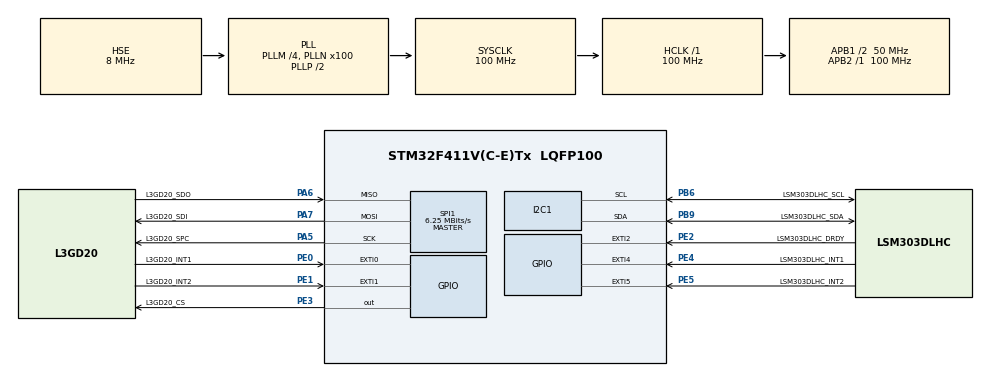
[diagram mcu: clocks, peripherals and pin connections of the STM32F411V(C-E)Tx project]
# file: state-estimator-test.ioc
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I2C1.I2C_Mode=I2C_Fast
Mcu.Family=STM32F4
Mcu.Name=STM32F411V(C-E)Tx
Mcu.Package=LQFP100
NVIC.EXTI0_IRQn=true\:0\:0\:false\:false\:true\:true\:true\:true
NVIC.EXTI1_IRQn=true\:0\:0\:false\:false\:true\:true\:true\:true
NVIC.EXTI2_IRQn=true\:0\:0\:false\:false\:true\:true\:true\:true
NVIC.EXTI4_IRQn=true\:0\:0\:false\:false\:true\:true\:true\:true
NVIC.EXTI9_5_IRQn=true\:0\:0\:false\:false\:true\:true\:true\:true
NVIC.I2C1_EV_IRQn=true\:0\:0\:false\:false\:true\:true\:true\:true
NVIC.PriorityGroup=NVIC_PRIORITYGROUP_4
NVIC.SPI1_IRQn=true\:0\:0\:false\:false\:true\:true\:true\:true
PA5.GPIO_Label=L3GD20_SPC
PA5.Mode=Full_Duplex_Master
PA5.Signal=SPI1_SCK
PA6.GPIO_Label=L3GD20_SDO
PA6.Mode=Full_Duplex_Master
PA6.Signal=SPI1_MISO
PA7.GPIO_Label=L3GD20_SDI
PA7.Mode=Full_Duplex_Master
PA7.Signal=SPI1_MOSI
PB6.GPIO_Label=LSM303DLHC_SCL
PB6.Mode=I2C
PB6.Signal=I2C1_SCL
PB9.GPIO_Label=LSM303DLHC_SDA
PB9.Mode=I2C
PB9.Signal=I2C1_SDA
PE0.GPIO_Label=L3GD20_INT1
PE0.Signal=GPXTI0
PE1.GPIO_Label=L3GD20_INT2
PE1.Signal=GPXTI1
PE2.GPIO_Label=LSM303DLHC_DRDY
PE2.Signal=GPXTI2
PE3.GPIO_Label=L3GD20_CS
PE3.Signal=GPIO_Output
PE4.GPIO_Label=LSM303DLHC_INT1
PE4.Signal=GPXTI4
PE5.GPIO_Label=LSM303DLHC_INT2
PE5.Signal=GPXTI5
PH0\ -\ OSC_IN.Mode=HSE-External-Oscillator
PH0\ -\ OSC_IN.Signal=RCC_OSC_IN
PH1\ -\ OSC_OUT.Mode=HSE-External-Oscillator
PH1\ -\ OSC_OUT.Signal=RCC_OSC_OUT
ProjectManager.HeapSize=0x200
ProjectManager.StackSize=0x400
ProjectManager.TargetToolchain=STM32CubeIDE
RCC.48MHZClocksFreq_Value=50000000
RCC.AHBFreq_Value=100000000
RCC.APB1CLKDivider=RCC_HCLK_DIV2
RCC.APB1Freq_Value=50000000
RCC.APB1TimFreq_Value=100000000
RCC.APB2Freq_Value=100000000
RCC.APB2TimFreq_Value=100000000
RCC.CortexFreq_Value=100000000
RCC.HCLKFreq_Value=100000000
RCC.HSE_VALUE=8000000
RCC.HSI_VALUE=16000000
RCC.LSE_VALUE=32768
RCC.PLLM=4
RCC.PLLN=100
RCC.PLLSourceVirtual=RCC_PLLSOURCE_HSE
RCC.SYSCLKFreq_VALUE=100000000
RCC.SYSCLKSource=RCC_SYSCLKSOURCE_PLLCLK
RCC.VCOOutputFreq_Value=200000000
SPI1.BaudRatePrescaler=SPI_BAUDRATEPRESCALER_16
SPI1.CalculateBaudRate=6.25 MBits/s
SPI1.Direction=SPI_DIRECTION_2LINES
SPI1.Mode=SPI_MODE_MASTER
SPI1.VirtualType=VM_MASTER
board=custom

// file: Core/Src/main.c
/* USER CODE BEGIN Header */
/**
  ******************************************************************************
  * @file           : main.c
  * @brief          : Main program body
  ******************************************************************************
  * @attention
  *
  * Copyright (c) 2024 STMicroelectronics.
  * All rights reserved.
  *
  * This software is licensed under terms that can be found in the LICENSE file
  * in the root directory of this software component.
  * If no LICENSE file comes with this software, it is provided AS-IS.
  *
  ******************************************************************************
  */
/* USER CODE END Header */
#include "main.h"

/* USER CODE BEGIN Includes */

#include <stdio.h>
#include <stdbool.h>
#include <math.h>

#include "register_map_l3GD20.h"
#include "register_map_lsm303dlhc.h"

/* USER CODE END Includes */

I2C_HandleTypeDef hi2c1;

SPI_HandleTypeDef hspi1;

void SystemClock_Config(void);
static void MX_GPIO_Init(void);
static void MX_I2C1_Init(void);
static void MX_SPI1_Init(void);

/* USER CODE BEGIN 0 */

volatile bool l3gd20_drdy = false;
volatile bool lsm303dlhc_drdy = false;

void HAL_GPIO_EXTI_Callback(uint16_t GPIO_Pin) {
	if(GPIO_Pin==L3GD20_INT2_Pin) {
		l3gd20_drdy = true;
	} else if(GPIO_Pin==LSM303DLHC_DRDY_Pin) {
		lsm303dlhc_drdy = true;
	}
}

int __io_putchar(int ch) {
	ITM_SendChar(ch);
	return(ch);
}

void L3GD20_write(const uint8_t address, const uint8_t value) {
	uint8_t tx[2];
	tx[0] = address & 0x3F;
	tx[1] = value;

	HAL_GPIO_WritePin(L3GD20_CS_GPIO_Port, L3GD20_CS_Pin, 0);
	HAL_SPI_Transmit(&hspi1, tx, sizeof(tx), HAL_MAX_DELAY);
	HAL_GPIO_WritePin(L3GD20_CS_GPIO_Port, L3GD20_CS_Pin, 1);
}

void L3GD20_read(const uint8_t address, void *rx, const uint8_t num) {
	const uint8_t tx = address | 0x80 | ((num>1) ? 0x40 : 0x00);

	HAL_GPIO_WritePin(L3GD20_CS_GPIO_Port, L3GD20_CS_Pin, 0);
	HAL_SPI_Transmit(&hspi1, (uint8_t *)&tx, sizeof(tx), HAL_MAX_DELAY);
	HAL_SPI_Receive(&hspi1, rx, num, HAL_MAX_DELAY);
	HAL_GPIO_WritePin(L3GD20_CS_GPIO_Port, L3GD20_CS_Pin, 1);
}

void LSM303DLHC_A_write(const uint8_t address, const uint8_t value) {
	HAL_I2C_Mem_Write(&hi2c1, LSM303DLHC_A_I2C_ADDRESS, address, 1, (uint8_t *)&value, 1, HAL_MAX_DELAY);
}

void LSM303DLHC_A_read(const uint8_t address, void *data, const uint8_t num) {
	HAL_I2C_Mem_Read(&hi2c1, LSM303DLHC_A_I2C_ADDRESS, address | (1<<7), 1, data, num, HAL_MAX_DELAY);
}

void LSM303DLHC_M_write(const uint8_t address, const uint8_t value) {
	HAL_I2C_Mem_Write(&hi2c1, LSM303DLHC_M_I2C_ADDRESS, address, 1, (uint8_t *)&value, 1, HAL_MAX_DELAY);
}

void LSM303DLHC_M_read(const uint8_t address, void *data, const uint8_t num) {
	HAL_I2C_Mem_Read(&hi2c1, LSM303DLHC_M_I2C_ADDRESS, address, 1, data, num, HAL_MAX_DELAY);
}

#define SENSITIVITY_GYROSCOPE		0.030518044f
#define SENSITIVITY_ACCELEROMETER	1.f/1340.f

float x = 0;
float y = 0;
float z = 0;

/* USER CODE END 0 */

int main(void)
{

  /* MCU Configuration--------------------------------------------------------*/

  /* Reset of all peripherals, Initializes the Flash interface and the Systick. */
  HAL_Init();

  /* Configure the system clock */
  SystemClock_Config();

  /* Initialize all configured peripherals */
  MX_GPIO_Init();
  MX_I2C1_Init();
  MX_SPI1_Init();

  /* Infinite loop */
  /* USER CODE BEGIN WHILE */

  HAL_Delay(250);

  {
	  uint8_t who_i_am = 0;
	  L3GD20_read(L3GD20_WHO_AM_I, &who_i_am, sizeof(who_i_am));

	  if(who_i_am==L3GD20_WHO_AM_I_VALUE) {
		  printf("L3GD20 ok\n");
	  }
  }

  L3GD20_write(L3GD20_CTRL_REG5,
      L3GD20_CTRL_REG5_BOOT
  );

  L3GD20_write(L3GD20_CTRL_REG1,
      L3GD20_CTRL_REG1_DR_ODR_95HZ |
	  L3GD20_CTRL_REG1_BW_CUTOFF_LPF1_93HZ |
	  L3GD20_CTRL_REG1_PD_OPERATING_MODE_NORMAL |
	  L3GD20_CTRL_REG1_ZEN_ENABLE |
	  L3GD20_CTRL_REG1_YEN_ENABLE |
	  L3GD20_CTRL_REG1_XEN_ENABLE
  );

  L3GD20_write(L3GD20_CTRL_REG3,
	  L3GD20_CTRL_REG3_I1_INT1_DISABLE |
	  L3GD20_CTRL_REG3_I1_BOOT_STATUS_AVAILABLE_DISABLE |
	  L3GD20_CTRL_REG3_H_LACTIVE_HIGH |
	  L3GD20_CTRL_REG3_PP_OD_PUSH_PULL |
	  L3GD20_CTRL_REG3_I2_DRDY_ENABLE |
	  L3GD20_CTRL_REG3_I2_WTM_FIFO_WATERMARK_DISABLE |
	  L3GD20_CTRL_REG3_I2_ORUN_FIFO_OVERRUN_DISABLE |
	  L3GD20_CTRL_REG3_I2_EMPTY_FIFO_EMPTY_DISABLE
  );

  L3GD20_write(L3GD20_CTRL_REG4,
	  L3GD20_CTRL_REG4_BDU_ENABLE |
	  L3GD20_CTRL_REG4_BLE_LITTLE_ENDIAN |
	  L3GD20_CTRL_REG4_FS_FULL_SCALE_2000DPS |
	  L3GD20_CTRL_REG4_SIM_4_WIRE_INTERFACE
  );

  L3GD20_write(L3GD20_CTRL_REG5,
      L3GD20_CTRL_REG5_FIFO_EN_FIFO_DISABLE |
	  L3GD20_CTRL_REG5_HPEN_HIGH_PASS_FILTER_DISABLE |
	  L3GD20_CTRL_REG5_INT1_SEL_00 |
	  L3GD20_CTRL_REG5_OUT_SEL_00
  );

  {
	  uint8_t irx[3] = {0};
	  LSM303DLHC_M_read(LSM303DLHC_IRA_REG_M, irx, sizeof(irx));

	  if(irx[0]==LSM303DLHC_IRA_REG_M_VALUE && irx[1]==LSM303DLHC_IRB_REG_M_VALUE && irx[2]==LSM303DLHC_IRC_REG_M_VALUE) {
		  printf("LSM303DLHC ok\n");
	  }
  }

  LSM303DLHC_A_write(LSM303DLHC_CTRL_REG5_A, LSM303DLHC_CTRL_REG5_A_BOOT);

  LSM303DLHC_A_write(LSM303DLHC_CTRL_REG1_A,
	  LSM303DLHC_CTRL_REG1_A_ODR_MODE_NORMAL_LOW_POWER_100HZ |
	  LSM303DLHC_CTRL_REG1_A_LPEN_NORMAL_MODE |
	  LSM303DLHC_CTRL_REG1_A_ZEN_ENABLE |
	  LSM303DLHC_CTRL_REG1_A_YEN_ENABLE |
	  LSM303DLHC_CTRL_REG1_A_XEN_ENABLE
  );

  LSM303DLHC_A_write(LSM303DLHC_CTRL_REG2_A,
  	  LSM303DLHC_CTRL_REG2_A_HPM_NORMAL_MODE |
	  //LSM303DLHC_CTRL_REG2_A_HPCF |
	  LSM303DLHC_CTRL_REG2_A_FDS_INTERNAL_FILTER_BAYPASSED |
	  LSM303DLHC_CTRL_REG2_A_HPCLICK_FILTER_BAPASSED |
	  LSM303DLHC_CTRL_REG2_A_HPIS2_FILTER_BAPASSED |
	  LSM303DLHC_CTRL_REG2_A_HPIS1_FILTER_BAPASSED
  );

  LSM303DLHC_A_write(LSM303DLHC_CTRL_REG3_A,
      LSM303DLHC_CTRL_REG3_A_I1_CLICK_DISABLE |
	  LSM303DLHC_CTRL_REG3_A_I1_AOI1_DISABLE |
	  LSM303DLHC_CTRL_REG3_A_I1_AOI2_DISABLE |
	  LSM303DLHC_CTRL_REG3_A_I1_DRDY1_ENABLE |
	  LSM303DLHC_CTRL_REG3_A_I1_DRDY2_DISABLE |
	  LSM303DLHC_CTRL_REG3_A_I1_WTM_FIFO_WATERMARK_DISABLE |
	  LSM303DLHC_CTRL_REG3_A_I1_OVERRUN_FIFO_OVERRUN_DISABLE
  );

  LSM303DLHC_A_write(LSM303DLHC_CTRL_REG4_A,
      LSM303DLHC_CTRL_REG4_A_BDU_ENABLE |
	  LSM303DLHC_CTRL_REG4_A_BLE_LITTLE_ENDIAN |
	  LSM303DLHC_CTRL_REG4_A_FS_FULL_SCALE_16G |
	  LSM303DLHC_CTRL_REG4_A_HR_HIGH_RESOLUTION_ENABLE |
	  LSM303DLHC_CTRL_REG4_A_SIM_4_WIRE_INTERFACE
  );

  LSM303DLHC_A_write(LSM303DLHC_CTRL_REG5_A,
      LSM303DLHC_CTRL_REG5_A_FIFO_EN_FIFO_DISABLE |
	  LSM303DLHC_CTRL_REG5_A_LIR_INT1_NOT_LATCHED |
	  LSM303DLHC_CTRL_REG5_A_D4D_INT1_DISABLE |
	  LSM303DLHC_CTRL_REG5_A_LIR_INT2_NOT_LATCHED |
	  LSM303DLHC_CTRL_REG5_A_D4D_INT2_DISABLE
  );

  LSM303DLHC_A_write(LSM303DLHC_CTRL_REG6_A,
      LSM303DLHC_CTRL_REG6_A_I2_CLICKEN_DISABLE |
	  LSM303DLHC_CTRL_REG6_A_I2_INT1_INTERRUPT_1_ON_PAD2_DISABLE |
	  LSM303DLHC_CTRL_REG6_A_I2_INT2_INTERRUPT_2_ON_PAD2_DISABLE |
	  LSM303DLHC_CTRL_REG6_A_P2_ACT_ACTIVE_FUNCTION_STATUS_ON_PAD2_DISABLE |
	  LSM303DLHC_CTRL_REG6_A_H_LACTIVE_ACTIVE_HIGH
  );

  LSM303DLHC_M_write(LSM303DLHC_CRA_REG_M,
	  LSM303DLHC_CRA_REG_M_TEMP_EN_TEMPERATURE_SENSOR_DISABLE |
	  LSM303DLHC_CRA_REG_M_DO_MINIMUM_DATA_OUTPUT_RATE_75HZ
  );

  LSM303DLHC_M_write(LSM303DLHC_CRB_REG_M,
      LSM303DLHC_CRB_REG_M_GN_SENSOR_INPUT_RAGE_8_1GAUSS
  );

  LSM303DLHC_M_write(LSM303DLHC_MR_REG_M,
      LSM303DLHC_MR_REG_M_MD_OPERATING_MODE_CONTINUOUS_CONVERSION
  );

  int16_t raw[3] = {0};
  L3GD20_read(L3GD20_OUT_X_L, raw, sizeof(raw));

  while(1) {

	  if(l3gd20_drdy) {
		  l3gd20_drdy = false;

		  L3GD20_read(L3GD20_OUT_X_L, raw, sizeof(raw));

		  //x = raw[0]*SENSITIVITY_GYROSCOPE;
		  //y = raw[1]*SENSITIVITY_GYROSCOPE;
		  //z = raw[2]*SENSITIVITY_GYROSCOPE;
	  }

	  if(lsm303dlhc_drdy) {
		  lsm303dlhc_drdy = false;

		  LSM303DLHC_A_read(LSM303DLHC_OUT_X_L_A, raw, sizeof(raw));
		  //LSM303DLHC_M_read(LSM303DLHC_OUT_X_H_M, raw, sizeof(raw));

		  x = raw[0]*SENSITIVITY_ACCELEROMETER;
		  y = raw[1]*SENSITIVITY_ACCELEROMETER;
		  z = raw[2]*SENSITIVITY_ACCELEROMETER;
	  }

	  HAL_Delay(10);

    /* USER CODE END WHILE */

  }
}

void SystemClock_Config(void)
{
  RCC_OscInitTypeDef RCC_OscInitStruct = {0};
  RCC_ClkInitTypeDef RCC_ClkInitStruct = {0};

  /** Configure the main internal regulator output voltage
  */
  __HAL_RCC_PWR_CLK_ENABLE();
  __HAL_PWR_VOLTAGESCALING_CONFIG(PWR_REGULATOR_VOLTAGE_SCALE1);

  /** Initializes the RCC Oscillators according to the specified parameters
  * in the RCC_OscInitTypeDef structure.
  */
  RCC_OscInitStruct.OscillatorType = RCC_OSCILLATORTYPE_HSE;
  RCC_OscInitStruct.HSEState = RCC_HSE_ON;
  RCC_OscInitStruct.PLL.PLLState = RCC_PLL_ON;
  RCC_OscInitStruct.PLL.PLLSource = RCC_PLLSOURCE_HSE;
  RCC_OscInitStruct.PLL.PLLM = 4;
  RCC_OscInitStruct.PLL.PLLN = 100;
  RCC_OscInitStruct.PLL.PLLP = RCC_PLLP_DIV2;
  RCC_OscInitStruct.PLL.PLLQ = 4;
  if (HAL_RCC_OscConfig(&RCC_OscInitStruct) != HAL_OK)
  {
    Error_Handler();
  }

  /** Initializes the CPU, AHB and APB buses clocks
  */
  RCC_ClkInitStruct.ClockType = RCC_CLOCKTYPE_HCLK|RCC_CLOCKTYPE_SYSCLK
                              |RCC_CLOCKTYPE_PCLK1|RCC_CLOCKTYPE_PCLK2;
  RCC_ClkInitStruct.SYSCLKSource = RCC_SYSCLKSOURCE_PLLCLK;
  RCC_ClkInitStruct.AHBCLKDivider = RCC_SYSCLK_DIV1;
  RCC_ClkInitStruct.APB1CLKDivider = RCC_HCLK_DIV2;
  RCC_ClkInitStruct.APB2CLKDivider = RCC_HCLK_DIV1;

  if (HAL_RCC_ClockConfig(&RCC_ClkInitStruct, FLASH_LATENCY_3) != HAL_OK)
  {
    Error_Handler();
  }
}

static void MX_I2C1_Init(void)
{

  hi2c1.Instance = I2C1;
  hi2c1.Init.ClockSpeed = 400000;
  hi2c1.Init.DutyCycle = I2C_DUTYCYCLE_2;
  hi2c1.Init.OwnAddress1 = 0;
  hi2c1.Init.AddressingMode = I2C_ADDRESSINGMODE_7BIT;
  hi2c1.Init.DualAddressMode = I2C_DUALADDRESS_DISABLE;
  hi2c1.Init.OwnAddress2 = 0;
  hi2c1.Init.GeneralCallMode = I2C_GENERALCALL_DISABLE;
  hi2c1.Init.NoStretchMode = I2C_NOSTRETCH_DISABLE;
  if (HAL_I2C_Init(&hi2c1) != HAL_OK)
  {
    Error_Handler();
  }

}

static void MX_SPI1_Init(void)
{

  /* SPI1 parameter configuration*/
  hspi1.Instance = SPI1;
  hspi1.Init.Mode = SPI_MODE_MASTER;
  hspi1.Init.Direction = SPI_DIRECTION_2LINES;
  hspi1.Init.DataSize = SPI_DATASIZE_8BIT;
  hspi1.Init.CLKPolarity = SPI_POLARITY_LOW;
  hspi1.Init.CLKPhase = SPI_PHASE_1EDGE;
  hspi1.Init.NSS = SPI_NSS_SOFT;
  hspi1.Init.BaudRatePrescaler = SPI_BAUDRATEPRESCALER_16;
  hspi1.Init.FirstBit = SPI_FIRSTBIT_MSB;
  hspi1.Init.TIMode = SPI_TIMODE_DISABLE;
  hspi1.Init.CRCCalculation = SPI_CRCCALCULATION_DISABLE;
  hspi1.Init.CRCPolynomial = 10;
  if (HAL_SPI_Init(&hspi1) != HAL_OK)
  {
    Error_Handler();
  }

}

static void MX_GPIO_Init(void)
{
  GPIO_InitTypeDef GPIO_InitStruct = {0};

  /* GPIO Ports Clock Enable */
  __HAL_RCC_GPIOE_CLK_ENABLE();
  __HAL_RCC_GPIOH_CLK_ENABLE();
  __HAL_RCC_GPIOA_CLK_ENABLE();
  __HAL_RCC_GPIOB_CLK_ENABLE();

  /*Configure GPIO pin Output Level */
  HAL_GPIO_WritePin(L3GD20_CS_GPIO_Port, L3GD20_CS_Pin, GPIO_PIN_RESET);

  /*Configure GPIO pins : LSM303DLHC_DRDY_Pin LSM303DLHC_INT1_Pin LSM303DLHC_INT2_Pin L3GD20_INT1_Pin
                           L3GD20_INT2_Pin */
  GPIO_InitStruct.Pin = LSM303DLHC_DRDY_Pin|LSM303DLHC_INT1_Pin|LSM303DLHC_INT2_Pin|L3GD20_INT1_Pin
                          |L3GD20_INT2_Pin;
  GPIO_InitStruct.Mode = GPIO_MODE_IT_RISING;
  GPIO_InitStruct.Pull = GPIO_NOPULL;
  HAL_GPIO_Init(GPIOE, &GPIO_InitStruct);

  /*Configure GPIO pin : L3GD20_CS_Pin */
  GPIO_InitStruct.Pin = L3GD20_CS_Pin;
  GPIO_InitStruct.Mode = GPIO_MODE_OUTPUT_PP;
  GPIO_InitStruct.Pull = GPIO_NOPULL;
  GPIO_InitStruct.Speed = GPIO_SPEED_FREQ_LOW;
  HAL_GPIO_Init(L3GD20_CS_GPIO_Port, &GPIO_InitStruct);

  /* EXTI interrupt init*/
  HAL_NVIC_SetPriority(EXTI0_IRQn, 0, 0);
  HAL_NVIC_EnableIRQ(EXTI0_IRQn);

  HAL_NVIC_SetPriority(EXTI1_IRQn, 0, 0);
  HAL_NVIC_EnableIRQ(EXTI1_IRQn);

  HAL_NVIC_SetPriority(EXTI2_IRQn, 0, 0);
  HAL_NVIC_EnableIRQ(EXTI2_IRQn);

  HAL_NVIC_SetPriority(EXTI4_IRQn, 0, 0);
  HAL_NVIC_EnableIRQ(EXTI4_IRQn);

  HAL_NVIC_SetPriority(EXTI9_5_IRQn, 0, 0);
  HAL_NVIC_EnableIRQ(EXTI9_5_IRQn);

}

void Error_Handler(void)
{
  __disable_irq();
  while (1)
  {
  }
}
